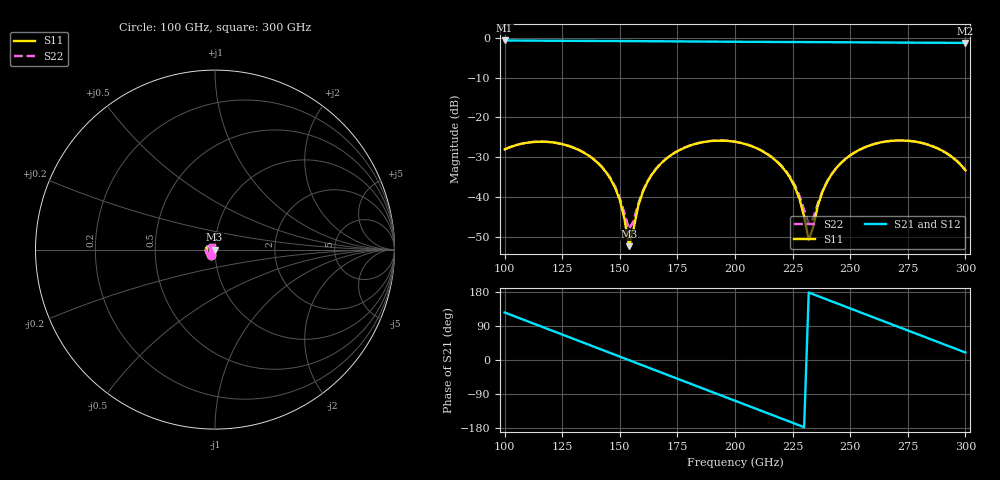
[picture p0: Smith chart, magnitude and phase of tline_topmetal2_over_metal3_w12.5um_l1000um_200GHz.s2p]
#  GHZ S DB R 50
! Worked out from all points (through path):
!   101 points, 100 GHz to 300 GHz, reference 50 ohm
!   highest |S21| = -0.66 dB at 100 GHz (marker M1); lowest = -1.3 dB at 300 GHz (marker M2)
!   group delay of S21, straight-line fit = 6.47 ps
!   lowest |S11| = -52.4 dB at 154 GHz (marker M3), VSWR 1.00, Z = 49.8 + j0.0251 ohm
!   |S11| at or under -10 dB: start of sweep to end of sweep
!   |S22| runs from -48.1 to -25.8 dB; largest |S21 - S12| = 2.1e-14
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100  -28.07 -127.8  -0.66 125.4  -0.66 125.4  -28.08 -128.5
116  -26.12 -165.8  -0.72 88.1  -0.72 88.1  -26.10 -165.5
134  -28.76 152.9  -0.77 46.3  -0.77 46.3  -28.70 154.6
142  -32.40 136.1  -0.79 27.6  -0.79 27.6  -32.28 139.3
148  -37.76 126.7  -0.80 13.6  -0.80 13.6  -37.45 133.0
152  -45.49 132.6  -0.82 4.3  -0.82 4.3  -44.11 145.1
154  -52.41 174.0  -0.82 -0.4  -0.82 -0.4  -48.11 179.8
160  -38.75 -102.7  -0.84 -14.4  -0.84 -14.4  -38.51 -110.1
168  -31.54 -114.9  -0.87 -33.1  -0.87 -33.1  -31.49 -117.9
184  -26.50 -149.6  -0.93 -70.4  -0.93 -70.4  -26.47 -150.6
200  -26.16 174.4  -0.99 -107.6  -0.99 -107.6  -26.11 174.6
212  -28.55 148.1  -1.02 -135.4  -1.02 -135.4  -28.46 149.4
220  -32.20 132.1  -1.04 -154.0  -1.04 -154.0  -32.03 135.0
228  -40.54 124.4  -1.06 -172.7  -1.06 -172.7  -39.77 132.5
232  -50.90 171.2  -1.07 178.0  -1.07 178.0  -46.77 173.8
234  -47.46 -126.0  -1.08 173.4  -1.08 173.4  -45.42 -142.9
238  -38.66 -108.6  -1.09 164.0  -1.09 164.0  -38.46 -117.5
244  -32.74 -115.4  -1.10 150.0  -1.10 150.0  -32.74 -120.1
256  -27.63 -139.3  -1.14 122.1  -1.14 122.1  -27.64 -141.7
268  -25.90 -165.1  -1.18 94.2  -1.18 94.2  -25.91 -166.5
282  -26.59 164.9  -1.23 61.6  -1.23 61.6  -26.57 164.3
300  -33.32 131.5  -1.27 19.8  -1.27 19.8  -33.18 133.0
